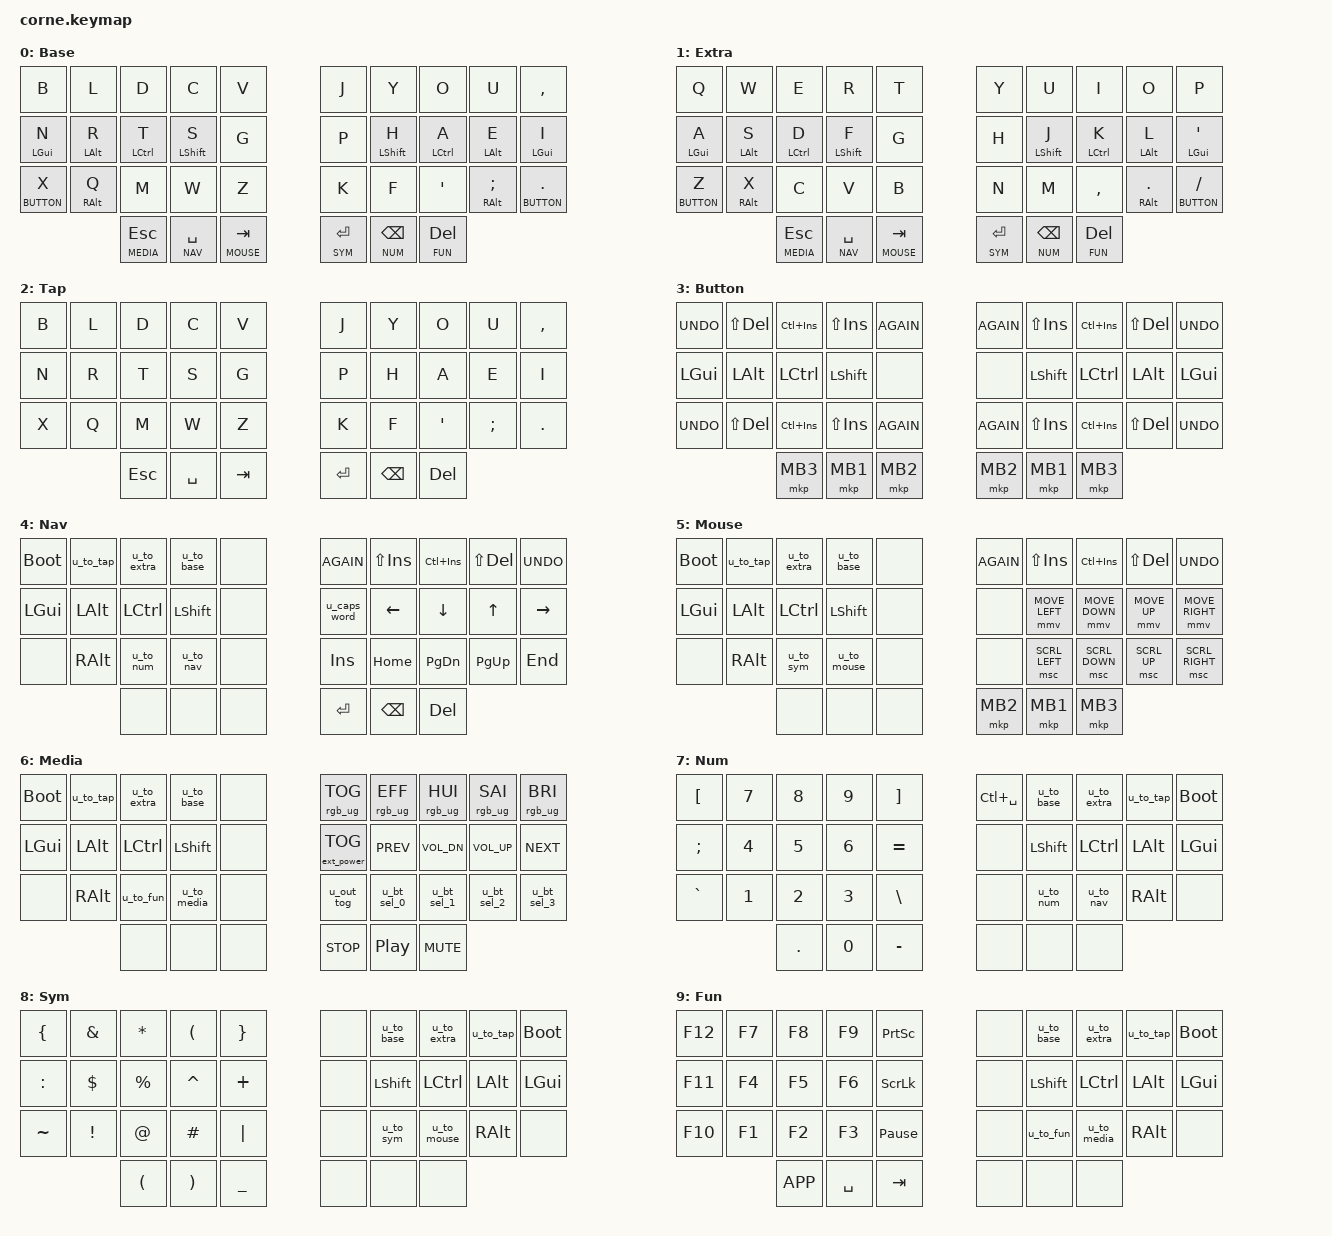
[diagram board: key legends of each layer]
/*
 * Miryoku layout for a 5-column (3x5+3, 36 key) Corne.
 * Based on https://github.com/manna-harbour/miryoku_zmk (default options),
 * with Gallium alphas on Base/Tap and QWERTY on Extra.
 *
 * Key order in every layer:
 *   10 keys per row x 3 rows, then 6 thumb keys (left outer -> right outer).
 */

// Mouse key speed (Miryoku values), must come before the pointing includes
#define ZMK_POINTING_DEFAULT_MOVE_VAL 1250
#define ZMK_POINTING_DEFAULT_SCRL_VAL 100

#include <behaviors.dtsi>
#include <behaviors/mouse_keys.dtsi>
#include <dt-bindings/zmk/keys.h>
#include <dt-bindings/zmk/bt.h>
#include <dt-bindings/zmk/rgb.h>
#include <dt-bindings/zmk/outputs.h>
#include <dt-bindings/zmk/ext_power.h>
#include <dt-bindings/zmk/pointing.h>

#define BASE   0
#define EXTRA  1
#define TAP    2
#define BUTTON 3
#define NAV    4
#define MOUSE  5
#define MEDIA  6
#define NUM    7
#define SYM    8
#define FUN    9

// Clipboard keys. Miryoku default (works on Linux). For Windows use
// LC(Y) LC(V) LC(C) LC(X) LC(Z); for macOS use LS(LG(Z)) LG(V) LG(C) LG(X) LG(Z).
#define U_RDO &kp K_AGAIN
#define U_PST &kp LS(INS)
#define U_CPY &kp LC(INS)
#define U_CUT &kp LS(DEL)
#define U_UND &kp K_UNDO

#define U_NA &none // present but not available for use
#define U_NU &none // available but not used

/*
 * Hardware tweaks. These live here because ZMK does not load config/corne.overlay
 * for the corne_left/corne_right shields, but it always applies this keymap.
 */

// Use the 5 column layout, and disable the 6 column one so a layout index saved
// by ZMK Studio (synced from left to right half) can never re-select it.
/ {
    chosen {
        zmk,physical-layout = &foostan_corne_5col_layout;
    };
};

&foostan_corne_6col_layout {
    status = "disabled";
};

// RGB underglow is defined by the stock corne shield; 27 LEDs per half.
&led_strip {
    chain-length = <27>;
};

&mmv {
    acceleration-exponent = <1>;
    time-to-max-speed-ms = <1500>;
    delay-ms = <0>;
};

// Double-tap guard: a single tap does nothing, a double tap runs the binding.
#define DOUBLE_TAP_GUARD(NAME, BINDING) \
    NAME: NAME { \
        compatible = "zmk,behavior-tap-dance"; \
        #binding-cells = <0>; \
        tapping-term-ms = <200>; \
        bindings = <&none>, <BINDING>; \
    };

// Normal binding, or a different one while Shift is held.
#define SHIFT_FUNCTION(NAME, BINDING, SHIFT_BINDING) \
    NAME: NAME { \
        compatible = "zmk,behavior-mod-morph"; \
        #binding-cells = <0>; \
        bindings = <BINDING>, <SHIFT_BINDING>; \
        mods = <(MOD_LSFT|MOD_RSFT)>; \
    };

// Tap: select BT profile. Shift + tap: select and clear that profile.
#define BT_SEL_CLR(N) \
    u_bt_sel_clr_##N: u_bt_sel_clr_##N { \
        compatible = "zmk,behavior-macro"; \
        #binding-cells = <0>; \
        wait-ms = <0>; \
        bindings = <&bt BT_SEL N &bt BT_CLR>; \
    };

/ {
    macros {
        BT_SEL_CLR(0)
        BT_SEL_CLR(1)
        BT_SEL_CLR(2)
        BT_SEL_CLR(3)
        BT_SEL_CLR(4)
    };

    behaviors {
        u_mt: u_mt {
            compatible = "zmk,behavior-hold-tap";
            #binding-cells = <2>;
            tapping-term-ms = <200>;
            flavor = "tap-preferred";
            bindings = <&kp>, <&kp>;
        };

        u_lt: u_lt {
            compatible = "zmk,behavior-hold-tap";
            #binding-cells = <2>;
            tapping-term-ms = <200>;
            flavor = "tap-preferred";
            bindings = <&mo>, <&kp>;
        };

        DOUBLE_TAP_GUARD(u_to_base,  &to BASE)
        DOUBLE_TAP_GUARD(u_to_extra, &to EXTRA)
        DOUBLE_TAP_GUARD(u_to_tap,   &to TAP)
        DOUBLE_TAP_GUARD(u_to_nav,   &to NAV)
        DOUBLE_TAP_GUARD(u_to_mouse, &to MOUSE)
        DOUBLE_TAP_GUARD(u_to_media, &to MEDIA)
        DOUBLE_TAP_GUARD(u_to_num,   &to NUM)
        DOUBLE_TAP_GUARD(u_to_sym,   &to SYM)
        DOUBLE_TAP_GUARD(u_to_fun,   &to FUN)

        SHIFT_FUNCTION(u_bt_sel_0, &bt BT_SEL 0, &u_bt_sel_clr_0)
        SHIFT_FUNCTION(u_bt_sel_1, &bt BT_SEL 1, &u_bt_sel_clr_1)
        SHIFT_FUNCTION(u_bt_sel_2, &bt BT_SEL 2, &u_bt_sel_clr_2)
        SHIFT_FUNCTION(u_bt_sel_3, &bt BT_SEL 3, &u_bt_sel_clr_3)
        SHIFT_FUNCTION(u_out_tog,  &out OUT_TOG, &out OUT_USB)
        SHIFT_FUNCTION(u_caps_word, &caps_word,  &kp CAPS)
    };

    combos {
        compatible = "zmk,combos";

        // Gallium has no '/' on the 30 alpha keys: press ' + ; together.
        combo_slash {
            timeout-ms = <50>;
            key-positions = <27 28>;
            bindings = <&kp SLASH>;
            layers = <BASE TAP>;
        };
    };

    keymap {
        compatible = "zmk,keymap";

        base_layer {
            display-name = "Base";
            // Gallium with home row mods (GUI/Alt/Ctrl/Shift), layer-taps on thumbs.
            // '/' is the combo ' + ; (see combos below).
            bindings = <
&kp B            &kp L            &kp D             &kp C             &kp V        &kp J        &kp Y             &kp O             &kp U              &kp COMMA
&u_mt LGUI N     &u_mt LALT R     &u_mt LCTRL T     &u_mt LSHFT S     &kp G        &kp P        &u_mt LSHFT H     &u_mt LCTRL A     &u_mt LALT E       &u_mt LGUI I
&u_lt BUTTON X   &u_mt RALT Q     &kp M             &kp W             &kp Z        &kp K        &kp F             &kp SQT           &u_mt RALT SEMI    &u_lt BUTTON DOT
                                  &u_lt MEDIA ESC   &u_lt NAV SPACE   &u_lt MOUSE TAB          &u_lt SYM RET     &u_lt NUM BSPC    &u_lt FUN DEL
            >;
        };

        extra_layer {
            display-name = "Extra";
            // QWERTY alternative base
            bindings = <
&kp Q            &kp W            &kp E             &kp R             &kp T        &kp Y        &kp U             &kp I             &kp O              &kp P
&u_mt LGUI A     &u_mt LALT S     &u_mt LCTRL D     &u_mt LSHFT F     &kp G        &kp H        &u_mt LSHFT J     &u_mt LCTRL K     &u_mt LALT L       &u_mt LGUI SQT
&u_lt BUTTON Z   &u_mt RALT X     &kp C             &kp V             &kp B        &kp N        &kp M             &kp COMMA         &u_mt RALT DOT     &u_lt BUTTON SLASH
                                  &u_lt MEDIA ESC   &u_lt NAV SPACE   &u_lt MOUSE TAB          &u_lt SYM RET     &u_lt NUM BSPC    &u_lt FUN DEL
            >;
        };

        tap_layer {
            display-name = "Tap";
            // Gallium without any hold behaviors (for gaming)
            bindings = <
&kp B     &kp L     &kp D     &kp C       &kp V          &kp J     &kp Y     &kp O       &kp U     &kp COMMA
&kp N     &kp R     &kp T     &kp S       &kp G          &kp P     &kp H     &kp A       &kp E     &kp I
&kp X     &kp Q     &kp M     &kp W       &kp Z          &kp K     &kp F     &kp SQT     &kp SEMI  &kp DOT
                    &kp ESC   &kp SPACE   &kp TAB        &kp RET   &kp BSPC  &kp DEL
            >;
        };

        button_layer {
            display-name = "Button";
            bindings = <
U_UND      U_CUT      U_CPY       U_PST       U_RDO          U_RDO      U_PST       U_CPY       U_CUT      U_UND
&kp LGUI   &kp LALT   &kp LCTRL   &kp LSHFT   U_NA           U_NA       &kp LSHFT   &kp LCTRL   &kp LALT   &kp LGUI
U_UND      U_CUT      U_CPY       U_PST       U_RDO          U_RDO      U_PST       U_CPY       U_CUT      U_UND
                      &mkp MB3    &mkp MB1    &mkp MB2       &mkp MB2   &mkp MB1    &mkp MB3
            >;
        };

        nav_layer {
            display-name = "Nav";
            bindings = <
&bootloader   &u_to_tap   &u_to_extra   &u_to_base   U_NA        U_RDO          U_PST      U_CPY       U_CUT      U_UND
&kp LGUI      &kp LALT    &kp LCTRL     &kp LSHFT    U_NA        &u_caps_word   &kp LEFT   &kp DOWN    &kp UP     &kp RIGHT
U_NA          &kp RALT    &u_to_num     &u_to_nav    U_NA        &kp INS        &kp HOME   &kp PG_DN   &kp PG_UP  &kp END
                          U_NA          U_NA         U_NA        &kp RET        &kp BSPC   &kp DEL
            >;
        };

        mouse_layer {
            display-name = "Mouse";
            bindings = <
&bootloader   &u_to_tap   &u_to_extra   &u_to_base    U_NA       U_RDO      U_PST            U_CPY            U_CUT          U_UND
&kp LGUI      &kp LALT    &kp LCTRL     &kp LSHFT     U_NA       U_NU       &mmv MOVE_LEFT   &mmv MOVE_DOWN   &mmv MOVE_UP   &mmv MOVE_RIGHT
U_NA          &kp RALT    &u_to_sym     &u_to_mouse   U_NA       U_NU       &msc SCRL_LEFT   &msc SCRL_DOWN   &msc SCRL_UP   &msc SCRL_RIGHT
                          U_NA          U_NA          U_NA       &mkp MB2   &mkp MB1         &mkp MB3
            >;
        };

        media_layer {
            display-name = "Media";
            bindings = <
&bootloader   &u_to_tap   &u_to_extra   &u_to_base    U_NA       &rgb_ug RGB_TOG     &rgb_ug RGB_EFF   &rgb_ug RGB_HUI   &rgb_ug RGB_SAI   &rgb_ug RGB_BRI
&kp LGUI      &kp LALT    &kp LCTRL     &kp LSHFT     U_NA       &ext_power EP_TOG   &kp C_PREV        &kp C_VOL_DN      &kp C_VOL_UP      &kp C_NEXT
U_NA          &kp RALT    &u_to_fun     &u_to_media   U_NA       &u_out_tog          &u_bt_sel_0       &u_bt_sel_1       &u_bt_sel_2       &u_bt_sel_3
                          U_NA          U_NA          U_NA       &kp C_STOP          &kp C_PP          &kp C_MUTE
            >;
        };

        num_layer {
            display-name = "Num";
            // Right top-left (j on Base) is Ctrl+Space, the tmux prefix
            bindings = <
&kp LBKT    &kp N7   &kp N8      &kp N9      &kp RBKT      &kp LC(SPACE)   &u_to_base   &u_to_extra   &u_to_tap   &bootloader
&kp SEMI    &kp N4   &kp N5      &kp N6      &kp EQUAL     U_NA   &kp LSHFT    &kp LCTRL     &kp LALT    &kp LGUI
&kp GRAVE   &kp N1   &kp N2      &kp N3      &kp BSLH      U_NA   &u_to_num    &u_to_nav     &kp RALT    U_NA
                     &kp DOT     &kp N0      &kp MINUS     U_NA   U_NA         U_NA
            >;
        };

        sym_layer {
            display-name = "Sym";
            bindings = <
&kp LBRC    &kp AMPS   &kp ASTRK   &kp LPAR    &kp RBRC      U_NA   &u_to_base   &u_to_extra   &u_to_tap   &bootloader
&kp COLON   &kp DLLR   &kp PRCNT   &kp CARET   &kp PLUS      U_NA   &kp LSHFT    &kp LCTRL     &kp LALT    &kp LGUI
&kp TILDE   &kp EXCL   &kp AT      &kp HASH    &kp PIPE      U_NA   &u_to_sym    &u_to_mouse   &kp RALT    U_NA
                       &kp LPAR    &kp RPAR    &kp UNDER     U_NA   U_NA         U_NA
            >;
        };

        fun_layer {
            display-name = "Fun";
            bindings = <
&kp F12   &kp F7   &kp F8      &kp F9      &kp PSCRN         U_NA   &u_to_base   &u_to_extra   &u_to_tap   &bootloader
&kp F11   &kp F4   &kp F5      &kp F6      &kp SLCK          U_NA   &kp LSHFT    &kp LCTRL     &kp LALT    &kp LGUI
&kp F10   &kp F1   &kp F2      &kp F3      &kp PAUSE_BREAK   U_NA   &u_to_fun    &u_to_media   &kp RALT    U_NA
                   &kp K_APP   &kp SPACE   &kp TAB           U_NA   U_NA         U_NA
            >;
        };
    };
};
